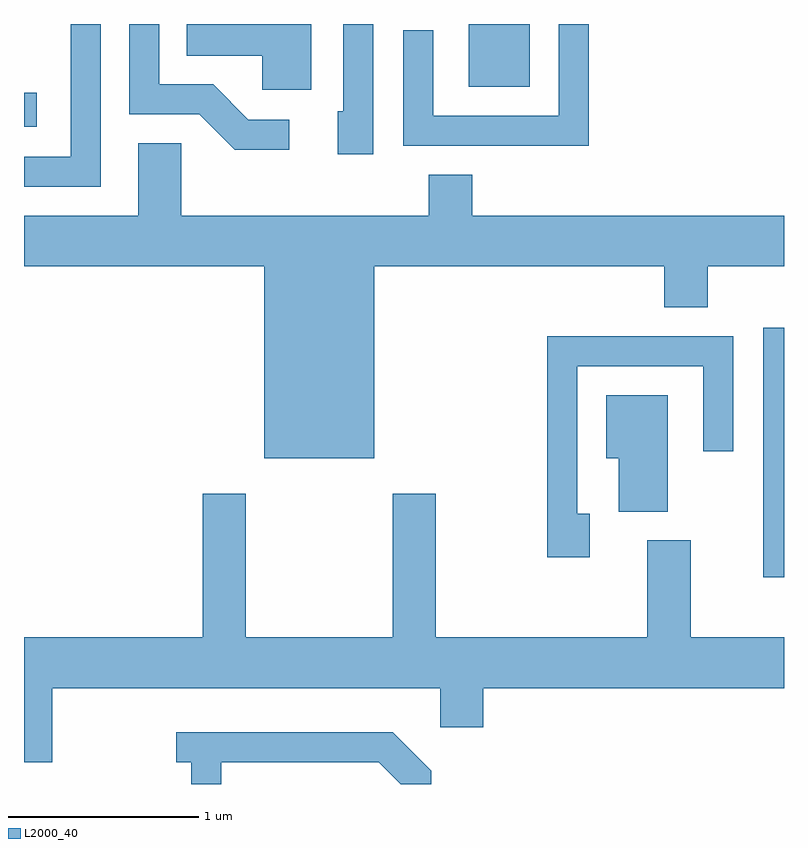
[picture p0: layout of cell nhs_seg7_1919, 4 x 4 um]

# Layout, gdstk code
import gdstk
lib = gdstk.Library(unit=1e-6, precision=1e-09)
def R(c, l, rs):  # rectangles x0, y0, x1, y1
    for r in rs: c.add(gdstk.rectangle(r[:2], r[2:], *l))
def P(c, l, *ps):  # polygons
    for p in ps: c.add(gdstk.Polygon(p, *l))
L2000_40 = (2000, 40)

nhs_seg7_1919 = lib.new_cell('nhs_seg7_1919')
R(nhs_seg7_1919, L2000_40, [(247.501,1719.341,247.611,1720.654), (243.611,1721.711,243.679,1721.889), (245.951,1721.921,246.274,1722.252)])
P(nhs_seg7_1919, L2000_40, [(245.008,1721.749),(244.792,1721.749),(244.607,1721.934),(244.324,1721.934),(244.324,1722.252),(244.166,1722.252),(244.166,1721.776),(244.534,1721.776),(244.719,1721.591),(245.008,1721.591)],
  [(245.124,1722.252),(244.468,1722.252),(244.468,1722.086),(244.866,1722.086),(244.866,1721.906),(245.124,1721.906)],
  [(245.449,1722.252),(245.291,1722.252),(245.291,1721.794),(245.261,1721.794),(245.261,1721.566),(245.449,1721.566)],
  [(244.014,1722.252),(243.856,1722.252),(243.856,1721.554),(243.611,1721.554),(243.611,1721.396),(244.014,1721.396)],
  [(246.584,1722.252),(246.426,1722.252),(246.426,1721.769),(245.764,1721.769),(245.764,1722.218),(245.606,1722.218),(245.606,1721.611),(246.584,1721.611)],
  [(245.454,1720.976),(246.981,1720.976),(246.981,1720.761),(247.209,1720.761),(247.209,1720.976),(247.611,1720.976),(247.611,1721.244),(245.969,1721.244),(245.969,1721.459),(245.741,1721.459),(245.741,1721.244),(244.439,1721.244),(244.439,1721.624),(244.211,1721.624),(244.211,1721.244),(243.611,1721.244),(243.611,1720.976),(244.876,1720.976),(244.876,1719.966),(245.454,1719.966)],
  [(246.589,1719.674),(246.524,1719.674),(246.524,1720.451),(247.186,1720.451),(247.186,1720.003),(247.344,1720.003),(247.344,1720.609),(246.366,1720.609),(246.366,1719.446),(246.589,1719.446)],
  [(246.999,1720.299),(246.676,1720.299),(246.676,1719.966),(246.741,1719.966),(246.741,1719.686),(246.999,1719.686)],
  [(243.759,1718.756),(245.801,1718.756),(245.801,1718.551),(246.029,1718.551),(246.029,1718.756),(247.611,1718.756),(247.611,1719.024),(247.119,1719.024),(247.119,1719.534),(246.891,1719.534),(246.891,1719.024),(245.779,1719.024),(245.779,1719.779),(245.551,1719.779),(245.551,1719.024),(244.779,1719.024),(244.779,1719.779),(244.551,1719.779),(244.551,1719.024),(243.611,1719.024),(243.611,1718.366),(243.759,1718.366)],
  [(244.649,1718.366),(245.479,1718.366),(245.593,1718.252),(245.754,1718.252),(245.754,1718.322),(245.552,1718.524),(244.413,1718.524),(244.413,1718.366),(244.491,1718.366),(244.491,1718.252),(244.649,1718.252)])

lib.write_gds('nhs_seg7_1919.gds')
